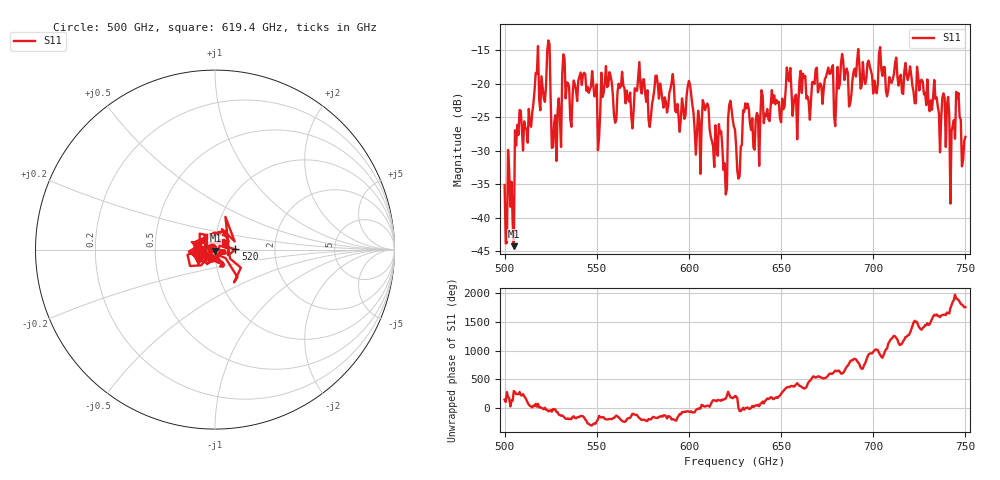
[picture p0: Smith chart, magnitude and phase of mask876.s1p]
!Created with skrf (http://scikit-rf.org).
# GHz S MA R 50.0
!freq magS11 angS11
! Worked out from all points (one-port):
!   401 points, 500 GHz to 750 GHz, reference 50 ohm
!   lowest |S11| = -44.2 dB at 505 GHz (marker M1), VSWR 1.01, Z = 50.3 - j0.555 ohm
!   |S11| at or under -10 dB: start of sweep to end of sweep
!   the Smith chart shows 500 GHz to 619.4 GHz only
!   S11 on the Smith chart (normalised r, x): 500 GHz: 0.97, +0.02; 520 GHz: 1.26, +0.00; 619.4 GHz: 0.95, +0.02
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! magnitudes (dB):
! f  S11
! 500 GHz  -35.1
! 505 GHz  -44.2
! 507.5 GHz  -27.6
! 520 GHz  -18.9
! 523.8 GHz  -13.5
! 526.9 GHz  -25.9
! 531.2 GHz  -18.6
! 542.5 GHz  -18.6
! 550.6 GHz  -29.9
! 562.5 GHz  -20.6
! 579.4 GHz  -24.9
! 590.6 GHz  -19.8
! 593.8 GHz  -23.0
! 600 GHz  -19.6
! 605 GHz  -24.0
! 608.8 GHz  -23.9
! 619.4 GHz  -31.9
! 622.5 GHz  -22.5
! 625 GHz  -26.8
! 627.5 GHz  -33.8
! 630.6 GHz  -22.9
! 636.9 GHz  -24.3
! 656.2 GHz  -24.8
! 687.5 GHz  -22.9
! 718.8 GHz  -19.4
! 743.1 GHz  -26.3
! 746.2 GHz  -21.4
! 750 GHz  -27.9
